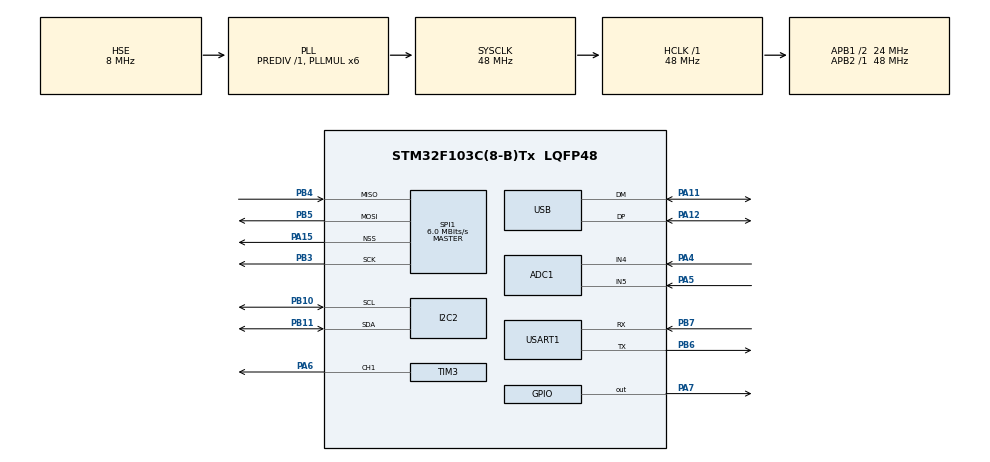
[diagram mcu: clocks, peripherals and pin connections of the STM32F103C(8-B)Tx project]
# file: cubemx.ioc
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ADC1.Channel-1\#ChannelRegularConversion=ADC_CHANNEL_4
ADC1.Channel-2\#ChannelRegularConversion=ADC_CHANNEL_5
ADC1.ContinuousConvMode=ENABLE
ADC1.NbrOfConversion=2
ADC1.NbrOfConversionFlag=1
ADC1.Rank-1\#ChannelRegularConversion=1
ADC1.Rank-2\#ChannelRegularConversion=2
ADC1.SamplingTime-1\#ChannelRegularConversion=ADC_SAMPLETIME_1CYCLE_5
ADC1.SamplingTime-2\#ChannelRegularConversion=ADC_SAMPLETIME_1CYCLE_5
ADC1.master=1
Dma.ADC1.0.Direction=DMA_PERIPH_TO_MEMORY
Dma.ADC1.0.Instance=DMA1_Channel1
Dma.ADC1.0.MemDataAlignment=DMA_MDATAALIGN_HALFWORD
Dma.ADC1.0.MemInc=DMA_MINC_ENABLE
Dma.ADC1.0.Mode=DMA_CIRCULAR
Dma.ADC1.0.PeriphDataAlignment=DMA_PDATAALIGN_HALFWORD
Dma.ADC1.0.PeriphInc=DMA_PINC_DISABLE
Dma.ADC1.0.Priority=DMA_PRIORITY_LOW
Dma.Request0=ADC1
Mcu.Family=STM32F1
Mcu.Name=STM32F103C(8-B)Tx
Mcu.Package=LQFP48
NVIC.DMA1_Channel1_IRQn=true\:0\:0\:false\:false\:true\:false\:true\:true
NVIC.PriorityGroup=NVIC_PRIORITYGROUP_4
PA11.Mode=Device
PA11.Signal=USB_DM
PA12.Mode=Device
PA12.Signal=USB_DP
PA13.Mode=Serial_Wire
PA13.Signal=SYS_JTMS-SWDIO
PA14.Mode=Serial_Wire
PA14.Signal=SYS_JTCK-SWCLK
PA15.Mode=NSS_Signal_Hard_Output
PA15.Signal=SPI1_NSS
PA4.Signal=ADCx_IN4
PA5.Signal=ADCx_IN5
PA6.Signal=S_TIM3_CH1
PA7.Signal=GPIO_Output
PB10.Mode=I2C
PB10.Signal=I2C2_SCL
PB11.Mode=I2C
PB11.Signal=I2C2_SDA
PB3.Mode=Full_Duplex_Master
PB3.Signal=SPI1_SCK
PB4.Mode=Full_Duplex_Master
PB4.Signal=SPI1_MISO
PB5.Mode=Full_Duplex_Master
PB5.Signal=SPI1_MOSI
PB6.Mode=Asynchronous
PB6.Signal=USART1_TX
PB7.Mode=Asynchronous
PB7.Signal=USART1_RX
PD0-OSC_IN.Mode=HSE-External-Oscillator
PD0-OSC_IN.Signal=RCC_OSC_IN
PD1-OSC_OUT.Mode=HSE-External-Oscillator
PD1-OSC_OUT.Signal=RCC_OSC_OUT
ProjectManager.HeapSize=0x200
ProjectManager.StackSize=0x400
ProjectManager.TargetToolchain=STM32CubeIDE
RCC.ADCPresc=RCC_ADCPCLK2_DIV4
RCC.AHBFreq_Value=48000000
RCC.APB1CLKDivider=RCC_HCLK_DIV2
RCC.APB1Freq_Value=24000000
RCC.APB1TimFreq_Value=48000000
RCC.APB2Freq_Value=48000000
RCC.APB2TimFreq_Value=48000000
RCC.HCLKFreq_Value=48000000
RCC.PLLMUL=RCC_PLL_MUL6
RCC.SYSCLKFreq_VALUE=48000000
RCC.SYSCLKSource=RCC_SYSCLKSOURCE_PLLCLK
RCC.USBFreq_Value=48000000
SH.ADCx_IN4.0=ADC1_IN4,IN4
SH.ADCx_IN5.0=ADC1_IN5,IN5
SH.S_TIM3_CH1.0=TIM3_CH1,PWM Generation1 CH1
SPI1.BaudRatePrescaler=SPI_BAUDRATEPRESCALER_8
SPI1.CalculateBaudRate=6.0 MBits/s
SPI1.Direction=SPI_DIRECTION_2LINES
SPI1.Mode=SPI_MODE_MASTER
SPI1.VirtualNSS=VM_NSSHARD
SPI1.VirtualType=VM_MASTER
TIM3.Channel-PWM\ Generation1\ CH1=TIM_CHANNEL_1
TIM3.Period=399
USART1.VirtualMode=VM_ASYNC
board=custom

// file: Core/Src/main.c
/* USER CODE BEGIN Header */
/**
  ******************************************************************************
  * @file           : main.c
  * @brief          : Main program body (Buck Converter 24V to 5V)
  ******************************************************************************
  */
/* USER CODE END Header */
#include "main.h"
#include "adc.h"
#include "dma.h"
#include "i2c.h"
#include "spi.h"
#include "tim.h"
#include "usart.h"
#include "usb.h"
#include "gpio.h"

/* USER CODE BEGIN Includes */
#include <stdio.h>
#include <string.h>
#include <stdlib.h>
/* USER CODE END Includes */

/* USER CODE BEGIN PV */

/* Sensor and reading variables */
uint16_t adc_buffer[2];
float out_voltage = 0.0;
float out_current = 0.0;
float raw_voltage = 0.0;
float raw_current = 0.0;

/* System and Control Variables */
uint8_t System_Mode = 1;  /* 0: Manual, 1: PI_V, 2: PI_I */
uint8_t Relay_State = 0;  /* 0: OFF, 1: ON */
int Duty_Cycle = 0;       /* 0 - 399 */
float I_Limit = 12.0;     /* OCP Limit */

/* Voltage PI Parameters */
float V_Ref = 0.0;
float Kp_V = 0.0;
float Ki_V = 0.0;
float V_Cal = 1.0;
float V_Offset = 0.0;
float integral_V = 0.0;

/* Current PI Parameters */
float I_Ref = 0.0;
float Kp_I = 0.0;
float Ki_I = 0.0;
float I_Cal = 1.0;
float I_Offset = 0.0;
float integral_I = 0.0;

/* Manual Mode Parameters */
float M_Offset = 0.0;

/* UART RX Buffers */
uint8_t rx_byte;
char rx_line_buffer[64];
uint8_t rx_line_index = 0;
volatile uint8_t rx_line_ready = 0;
char rx_line_copy[64];
/* USER CODE END PV */

void SystemClock_Config(void);
/* USER CODE BEGIN PFP */
void Process_Nextion_Command(char *line);
/* USER CODE END PFP */

int main(void)
{

  /* MCU Configuration--------------------------------------------------------*/
  HAL_Init();
  SystemClock_Config();

  /* Initialize all configured peripherals */
  MX_GPIO_Init();
  MX_DMA_Init();
  MX_ADC1_Init();
  MX_I2C2_Init();
  MX_SPI1_Init();
  MX_USART1_UART_Init();
  MX_USB_PCD_Init();
  MX_TIM3_Init();

  /* USER CODE BEGIN 2 */
  HAL_ADC_Start_DMA(&hadc1, (uint32_t*)adc_buffer, 2);
  HAL_TIM_PWM_Start(&htim3, TIM_CHANNEL_1);

  HAL_NVIC_SetPriority(USART1_IRQn, 0, 0);
  HAL_NVIC_EnableIRQ(USART1_IRQn);

  /* Start UART Interrupt */
  HAL_UART_Receive_IT(&huart1, &rx_byte, 1);
  /* USER CODE END 2 */

  /* Infinite loop */
  /* USER CODE BEGIN WHILE */
  while (1)
  {
    /* ADC Reading and Calibration Block */
    float pin_voltage_v = ((float)adc_buffer[1] / 4095.0) * 3.3;
    float pin_voltage_i = ((float)adc_buffer[0] / 4095.0) * 3.3;

    raw_voltage = pin_voltage_v * 2.0;
    float sensor_viout = pin_voltage_i * 1.5;
    raw_current = (sensor_viout - 2.5) * 10.0;

    out_voltage = (raw_voltage * V_Cal) + V_Offset;
    out_current = (raw_current * I_Cal) + I_Offset;

    /* UART Parsing Block */
    if (rx_line_ready)
    {
        Process_Nextion_Command(rx_line_copy);
        rx_line_ready = 0;
    }

    /* OCP (Over Current Protection) Block */
    if (out_current > I_Limit)
    {
        Relay_State = 0;
        Duty_Cycle = 0;
    }

    /* Control Algorithms Block (PI & Manual) */
    if (Relay_State == 0)
    {
        /* System OFF: Reset PWM and Integrals */
        __HAL_TIM_SET_COMPARE(&htim3, TIM_CHANNEL_1, 0);
        integral_V = 0.0;
        integral_I = 0.0;
    }
    else
    {
        /* Voltage PI Control */
        if (System_Mode == 1)
        {
            float error = V_Ref - out_voltage;
            integral_V += (Ki_V * error);

            if (integral_V > 399.0) integral_V = 399.0;
            if (integral_V < 0.0) integral_V = 0.0;

            float calc_duty = (Kp_V * error) + integral_V;

            if (calc_duty > 399.0) calc_duty = 399.0;
            if (calc_duty < 0.0) calc_duty = 0.0;

            __HAL_TIM_SET_COMPARE(&htim3, TIM_CHANNEL_1, (uint32_t)calc_duty);
        }
        /* Current PI Control */
        else if (System_Mode == 2)
        {
            float error = I_Ref - out_current;
            integral_I += (Ki_I * error);

            if (integral_I > 399.0) integral_I = 399.0;
            if (integral_I < 0.0) integral_I = 0.0;

            float calc_duty = (Kp_I * error) + integral_I;

            if (calc_duty > 399.0) calc_duty = 399.0;
            if (calc_duty < 0.0) calc_duty = 0.0;

            __HAL_TIM_SET_COMPARE(&htim3, TIM_CHANNEL_1, (uint32_t)calc_duty);
        }
        /* Manual Duty Control */
        else if (System_Mode == 0)
        {
            if (Duty_Cycle > 399) Duty_Cycle = 399;
            if (Duty_Cycle < 0) Duty_Cycle = 0;
            __HAL_TIM_SET_COMPARE(&htim3, TIM_CHANNEL_1, (uint32_t)Duty_Cycle);
        }
    }

    /* Nextion Telemetry Update Block */
    static uint32_t last_uart_time = 0;
    if (HAL_GetTick() - last_uart_time > 200)
    {
        float out_power = out_voltage * out_current;
        if (out_power < 0) out_power = 0; /* Prevent negative power display */

        char uart_buf[64];
        uint8_t nextion_end[3] = {0xFF, 0xFF, 0xFF};
        int len;

        /* t0: Current(A), t2: Voltage(V), t4: Power(W) */
        len = sprintf(uart_buf, "t0.txt=\"%.2f\"", out_current);
        HAL_UART_Transmit(&huart1, (uint8_t*)uart_buf, len, 50);
        HAL_UART_Transmit(&huart1, nextion_end, 3, 50);

        len = sprintf(uart_buf, "t2.txt=\"%.2f\"", out_voltage);
        HAL_UART_Transmit(&huart1, (uint8_t*)uart_buf, len, 50);
        HAL_UART_Transmit(&huart1, nextion_end, 3, 50);

        len = sprintf(uart_buf, "t4.txt=\"%.2f\"", out_power);
        HAL_UART_Transmit(&huart1, (uint8_t*)uart_buf, len, 50);
        HAL_UART_Transmit(&huart1, nextion_end, 3, 50);

        last_uart_time = HAL_GetTick();
    }
    /* USER CODE END WHILE */

  }
}

void SystemClock_Config(void)
{
  RCC_OscInitTypeDef RCC_OscInitStruct = {0};
  RCC_ClkInitTypeDef RCC_ClkInitStruct = {0};
  RCC_PeriphCLKInitTypeDef PeriphClkInit = {0};

  RCC_OscInitStruct.OscillatorType = RCC_OSCILLATORTYPE_HSE;
  RCC_OscInitStruct.HSEState = RCC_HSE_ON;
  RCC_OscInitStruct.HSEPredivValue = RCC_HSE_PREDIV_DIV1;
  RCC_OscInitStruct.HSIState = RCC_HSI_ON;
  RCC_OscInitStruct.PLL.PLLState = RCC_PLL_ON;
  RCC_OscInitStruct.PLL.PLLSource = RCC_PLLSOURCE_HSE;
  RCC_OscInitStruct.PLL.PLLMUL = RCC_PLL_MUL6;
  if (HAL_RCC_OscConfig(&RCC_OscInitStruct) != HAL_OK)
  {
    Error_Handler();
  }

  RCC_ClkInitStruct.ClockType = RCC_CLOCKTYPE_HCLK|RCC_CLOCKTYPE_SYSCLK
                              |RCC_CLOCKTYPE_PCLK1|RCC_CLOCKTYPE_PCLK2;
  RCC_ClkInitStruct.SYSCLKSource = RCC_SYSCLKSOURCE_PLLCLK;
  RCC_ClkInitStruct.AHBCLKDivider = RCC_SYSCLK_DIV1;
  RCC_ClkInitStruct.APB1CLKDivider = RCC_HCLK_DIV2;
  RCC_ClkInitStruct.APB2CLKDivider = RCC_HCLK_DIV1;

  if (HAL_RCC_ClockConfig(&RCC_ClkInitStruct, FLASH_LATENCY_1) != HAL_OK)
  {
    Error_Handler();
  }
  PeriphClkInit.PeriphClockSelection = RCC_PERIPHCLK_ADC|RCC_PERIPHCLK_USB;
  PeriphClkInit.AdcClockSelection = RCC_ADCPCLK2_DIV4;
  PeriphClkInit.UsbClockSelection = RCC_USBCLKSOURCE_PLL;
  if (HAL_RCCEx_PeriphCLKConfig(&PeriphClkInit) != HAL_OK)
  {
    Error_Handler();
  }
}

/* USER CODE BEGIN 4 */

/* UART RX Interrupt Callback */
void HAL_UART_RxCpltCallback(UART_HandleTypeDef *huart)
{
    if (huart->Instance == USART1)
    {
        if (rx_byte == '\n')
        {
            rx_line_buffer[rx_line_index] = '\0';
            strcpy(rx_line_copy, rx_line_buffer);
            rx_line_ready = 1;
            rx_line_index = 0;
        }
        else if (rx_byte != '\r' && rx_line_index < (sizeof(rx_line_buffer) - 1))
        {
            rx_line_buffer[rx_line_index++] = rx_byte;
        }
        HAL_UART_Receive_IT(&huart1, &rx_byte, 1);
    }
}

/* Nextion Data Parser */
void Process_Nextion_Command(char *line)
{
    char *colon_ptr = strchr(line, ':');
    if (colon_ptr != NULL)
    {
        float value = atof(colon_ptr + 1);

        /* System Commands */
        if (strncmp(line, "MODE", 4) == 0) System_Mode = (uint8_t)value;
        else if (strncmp(line, "RELAY", 5) == 0) Relay_State = (uint8_t)value;

        /* Voltage PI Commands */
        else if (strncmp(line, "SETV", 4) == 0) V_Ref = value;
        else if (strncmp(line, "KPV", 3) == 0) Kp_V = value;
        else if (strncmp(line, "KIV", 3) == 0) Ki_V = value;
        else if (strncmp(line, "OFFV", 4) == 0) V_Offset = value;
        else if (strncmp(line, "CALV", 4) == 0) V_Cal = value;

        /* Current PI Commands */
        else if (strncmp(line, "SETI", 4) == 0) I_Ref = value;
        else if (strncmp(line, "KPI", 3) == 0) Kp_I = value;
        else if (strncmp(line, "KII", 3) == 0) Ki_I = value;
        else if (strncmp(line, "OFFI", 4) == 0) I_Offset = value;
        else if (strncmp(line, "CALI", 4) == 0) I_Cal = value;

        /* Manual Commands */
        else if (strncmp(line, "DUTY", 4) == 0) Duty_Cycle = (int)value;
        else if (strncmp(line, "OFFM", 4) == 0) M_Offset = value;
    }
}
/* USER CODE END 4 */

void Error_Handler(void)
{
  __disable_irq();
  while (1)
  {
  }
}
